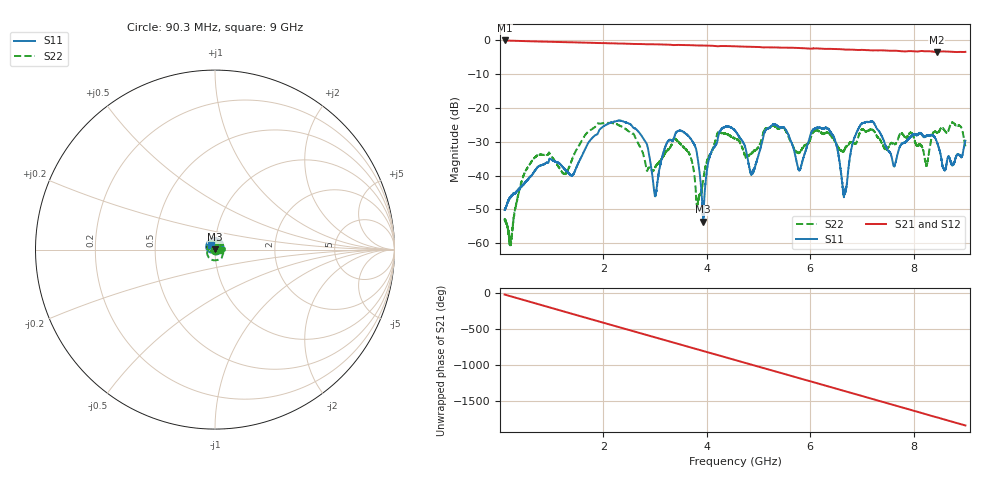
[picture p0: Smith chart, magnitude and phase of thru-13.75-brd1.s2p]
!Agilent Technologies,E8803A,US42160105,A.06.04.32
!Agilent E8803A: A.06.04.32
!Date: Friday, January 05, 2024 13:15:07
!Correction: S11(Full 2 Port(1,2)) S21(Full 2 Port(1,2)) S12(Full 2 Port(1,2)) S22(Full 2 Port(1,2))
!S2P File: Measurements: S11, S21, S12, S22:
# Hz S  dB  R 50
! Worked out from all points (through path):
!   6401 points, 90.3 MHz to 9 GHz, reference 50 ohm
!   highest |S21| = -0.08 dB at 93.08 MHz (marker M1); lowest = -3.5 dB at 8.446 GHz (marker M2)
!   group delay of S21, straight-line fit = 565 ps
!   lowest |S11| = -53.6 dB at 3.931 GHz (marker M3), VSWR 1.00, Z = 50.1 + j0.166 ohm
!   |S11| at or under -10 dB: start of sweep to end of sweep
!   |S22| runs from -60.9 to -24.3 dB; largest |S21 - S12| = 0.0064
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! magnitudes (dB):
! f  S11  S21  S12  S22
! 90.3 MHz  -50.2  -0.1  -0.1  -53.2
! 93.08 MHz  -50.0  -0.1  -0.1  -52.8
! 208.6 MHz  -46.4  -0.1  -0.2  -60.9
! 666.6 MHz  -38.8  -0.3  -0.4  -34.8
! 1.576 GHz  -34.5  -0.7  -0.7  -29.9
! 2.353 GHz  -23.8  -1.0  -1.0  -25.5
! 3.061 GHz  -39.8  -1.2  -1.2  -36.4
! 3.536 GHz  -27.0  -1.4  -1.4  -31.4
! 3.828 GHz  -35.4  -1.6  -1.5  -47.8
! 3.931 GHz  -53.6  -1.6  -1.6  -41.3
! 4.26 GHz  -26.7  -1.7  -1.7  -27.2
! 4.545 GHz  -26.7  -1.8  -1.8  -29.0
! 4.874 GHz  -39.6  -1.9  -1.9  -33.3
! 5.265 GHz  -25.1  -2.1  -2.1  -25.3
! 5.787 GHz  -38.3  -2.3  -2.3  -33.2
! 6.031 GHz  -27.0  -2.5  -2.5  -27.9
! 6.433 GHz  -28.0  -2.6  -2.6  -29.0
! 6.664 GHz  -45.4  -2.7  -2.7  -32.4
! 6.994 GHz  -24.7  -2.9  -2.9  -26.4
! 7.516 GHz  -32.8  -3.1  -3.1  -31.4
! 8.446 GHz  -30.0  -3.5  -3.5  -27.4
! 9 GHz  -29.7  -3.4  -3.4  -31.4
